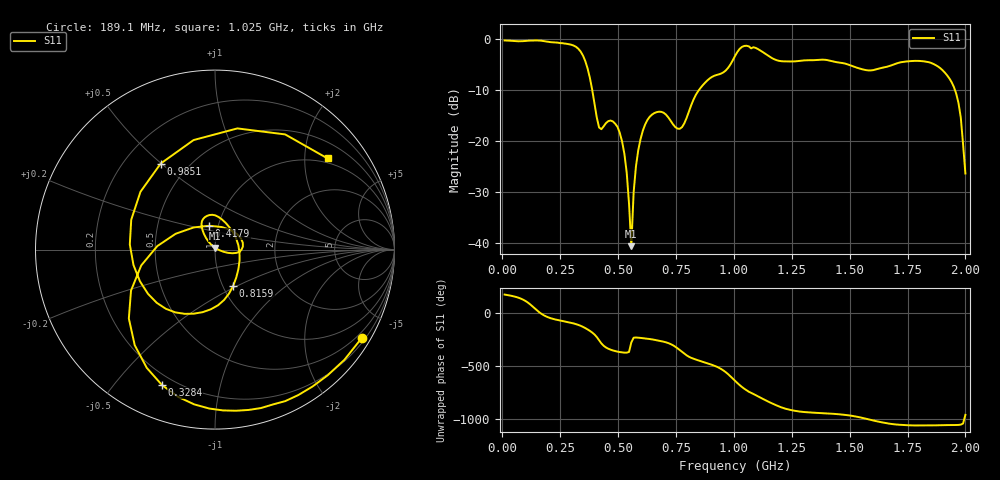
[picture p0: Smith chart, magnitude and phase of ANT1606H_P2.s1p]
!Created with skrf (http://scikit-rf.org).
# Hz S RI R 50.0
!freq ReS11 ImS11
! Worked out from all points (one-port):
!   201 points, 10 MHz to 2 GHz, reference 50 ohm
!   lowest |S11| = -40.6 dB at 557.2 MHz (marker M1), VSWR 1.02, Z = 50.1 + j0.925 ohm
!   |S11| at or under -10 dB: 388.7 MHz to 848.4 MHz (459.7 MHz wide, 74.3 % of centre); 1.955 GHz to end of sweep
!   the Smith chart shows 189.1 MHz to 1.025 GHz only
!   S11 on the Smith chart (normalised r, x): 189.1 MHz: 0.32, -3.56; 328.4 MHz: 0.15, -0.67; 417.9 MHz: 0.91, +0.25; 816 MHz: 1.12, -0.48; 985.1 MHz: 0.35, +0.50; 1.025 GHz: 0.88, +2.56
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1e7  -0.9753 0.0666
7.965e7  -0.7124 0.6433
1.1945e8  0.087 0.971
1.493e8  0.8712 0.4427
1.891e8  0.8167 -0.4937
2.5875e8  0.2553 -0.883
3.284e8  -0.2953 -0.7546
3.682e8  -0.4679 -0.228
4.1795e8  -0.0318 0.1328
5.075e8  0.1191 -0.0184
5.3735e8  0.0476 -0.0122
5.5725e8  0.00118 0.00923
5.7715e8  -0.0358 0.0436
6.1695e8  -0.074 0.1261
7.5625e8  0.1179 0.0617
8.1595e8  0.101 -0.2024
9.1545e8  -0.3245 -0.2966
9.851e8  -0.3023 0.4797
1.005e9  0.1246 0.6752
1.0249e9  0.6271 0.5079
1.05475e9  0.8518 -0.1592
1.11445e9  0.1387 -0.766
1.17415e9  -0.5168 -0.3771
1.25375e9  -0.5681 0.2161
1.5025e9  -0.1899 0.5237
1.75125e9  0.5791 0.1901
1.9403e9  0.3585 0.1294
2e9  -0.022 0.0428
